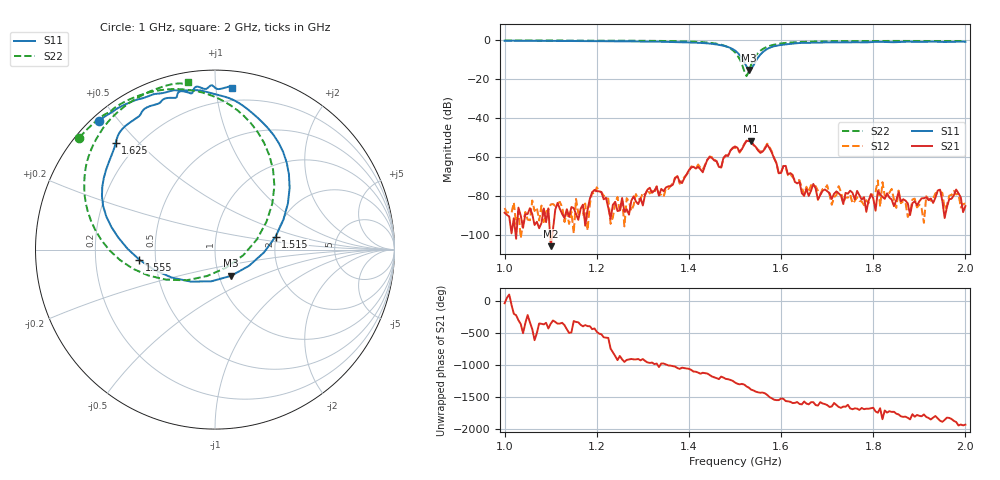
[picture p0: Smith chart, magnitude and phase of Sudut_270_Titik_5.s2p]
# Hz S RI R 50
! CMT, C1220, 16058040, 17.2.0/1
! Date: 14/08/2018 11:50:27
! Data: Format (Calibration Info)
! Freq  S11: Re/Im (F2)  S21: Re/Im (F2)  S12: Re/Im (F2)  S22: Re/Im (F2)
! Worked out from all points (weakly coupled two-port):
!   201 points, 1 GHz to 2 GHz, reference 50 ohm
!   highest |S21| = -51.80 dB at 1.535 GHz (marker M1); lowest = -106.0 dB at 1.1 GHz (marker M2)
!   lowest |S11| = -15.3 dB at 1.53 GHz (marker M3), VSWR 1.41, Z = 57.2 - j17.2 ohm
!   |S11| at or under -10 dB: 1.517 GHz to 1.547 GHz (30.3 MHz wide, 1.98 % of centre)
!   |S22| runs from -18.5 to -0.2 dB; largest |S21 - S12| = 0.00029
!   S11 on the Smith chart (normalised r, x): 1 GHz: 0.02, +0.44; 1.515 GHz: 1.98, +0.33; 1.555 GHz: 0.41, -0.06; 1.625 GHz: 0.12, +0.43; 2 GHz: 0.11, +1.11
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1e9  -0.6481 0.7148  2.81e-05 -2.33e-05  4.79e-05 -4.44e-06  -0.7554 0.624
1.1e9  -0.5509 0.7825  5.03e-06 4.52e-08  -1.42e-05 5.75e-05  -0.6825 0.6991
1.17e9  -0.4699 0.8216  4.56e-05 -3.76e-05  3.03e-05 -1.15e-05  -0.6185 0.7504
1.335e9  -0.2079 0.8867  6.8e-05 7.31e-05  3.92e-05 9.89e-05  -0.4015 0.8656
1.45e9  0.1815 0.7824  -0.000179 -0.000914  -0.000225 -0.000954  0.021 0.8409
1.47e9  0.296 0.6758  -0.000121 -0.000517  -0.000151 -0.000513  0.1629 0.7431
1.5e9  0.4158 0.3432  -0.00178 0.000455  -0.00164 0.000484  0.3309 0.355
1.515e9  0.338 0.0728  -0.00126 0.000934  -0.00135 0.000875  0.2338 0.0572
1.53e9  0.0905 -0.1458  0.000223 0.00252  0.000174 0.0025  -0.0452 -0.1476
1.535e9  -0.0197 -0.1765  0.00151 0.00208  0.00153 0.00213  -0.1582 -0.1709
1.555e9  -0.4209 -0.0568  0.00125 0.000135  0.00135 0.00018  -0.5295 -0.058
1.57e9  -0.5779 0.127  0.0018 -0.00102  0.00191 -0.00105  -0.6663 0.1072
1.595e9  -0.6197 0.3983  -0.000123 -0.000354  -0.000115 -0.000351  -0.7285 0.3419
1.625e9  -0.553 0.5944  -0.000312 -0.000145  -0.000242 -0.000178  -0.7039 0.5199
1.65e9  -0.4999 0.6882  -6.41e-05 -7.55e-05  -3.12e-05 -0.000104  -0.662 0.6155
1.67e9  -0.4335 0.7349  -0.000158 -0.000123  -0.000133 -9.67e-05  -0.6272 0.6712
1.79e9  -0.2118 0.8544  -3.35e-05 6.72e-05  -9.66e-06 6.36e-05  -0.4401 0.8408
1.81e9  -0.195 0.8815  7.71e-05 0.000106  0.000191 -0.000157  -0.4118 0.8574
1.815e9  -0.1851 0.8828  -6.24e-05 9e-05  4.95e-05 1.59e-05  -0.4048 0.8607
1.82e9  -0.1731 0.8812  6.38e-05 -6.77e-05  2.74e-05 0.000221  -0.3983 0.8642
1.835e9  -0.1375 0.871  1.75e-05 8.76e-05  6.29e-05 0.000101  -0.3784 0.874
2e9  0.096 0.9023  -3.53e-05 -4.06e-05  -3.71e-05 -5.08e-05  -0.1527 0.934
